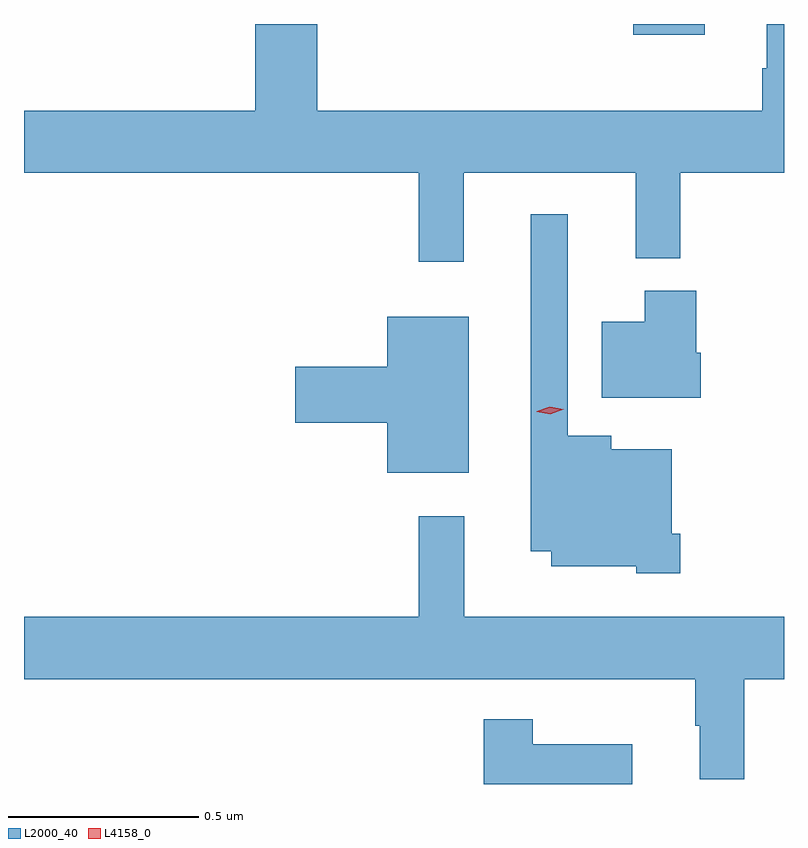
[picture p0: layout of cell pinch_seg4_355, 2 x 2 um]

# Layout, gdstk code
import gdstk
lib = gdstk.Library(unit=1e-6, precision=1e-09)
def R(c, l, rs):  # rectangles x0, y0, x1, y1
    for r in rs: c.add(gdstk.rectangle(r[:2], r[2:], *l))
def P(c, l, *ps):  # polygons
    for p in ps: c.add(gdstk.Polygon(p, *l))
L2000_40 = (2000, 40)
L4158_0 = (4158, 0)

pinch_seg4_355 = lib.new_cell('pinch_seg4_355')
R(pinch_seg4_355, L2000_40, [(994.063,793.188,994.252,793.216)])
P(pinch_seg4_355, L2000_40, [(993.617,792.824),(994.07,792.824),(994.07,792.599),(994.187,792.599),(994.187,792.824),(994.46,792.824),(994.46,793.216),(994.415,793.216),(994.415,793.1),(994.403,793.1),(994.403,792.988),(993.232,792.988),(993.232,793.216),(993.068,793.216),(993.068,792.988),(992.46,792.988),(992.46,792.824),(993.499,792.824),(993.499,792.591),(993.617,792.591)],
  [(994.187,791.875),(994.165,791.875),(994.165,792.097),(994.006,792.097),(994.006,792.133),(993.891,792.133),(993.891,792.715),(993.794,792.715),(993.794,791.828),(993.848,791.828),(993.848,791.789),(994.071,791.789),(994.071,791.771),(994.187,791.771)],
  [(994.241,792.351),(994.229,792.351),(994.229,792.514),(994.094,792.514),(994.094,792.433),(993.98,792.433),(993.98,792.233),(994.241,792.233)],
  [(993.631,792.445),(993.416,792.445),(993.416,792.314),(993.174,792.314),(993.174,792.167),(993.416,792.167),(993.416,792.035),(993.631,792.035)],
  [(994.355,791.492),(994.46,791.492),(994.46,791.656),(993.618,791.656),(993.618,791.92),(993.499,791.92),(993.499,791.656),(992.46,791.656),(992.46,791.492),(994.227,791.492),(994.227,791.369),(994.238,791.369),(994.238,791.229),(994.355,791.229)],
  [(994.06,791.32),(993.799,791.32),(993.799,791.386),(993.67,791.386),(993.67,791.216),(994.06,791.216)])
P(pinch_seg4_355, L4158_0, [(993.845,792.189),(993.809,792.196),(993.809,792.196),(993.809,792.197),(993.844,792.209),(993.88,792.202),(993.88,792.202),(993.88,792.202)])

lib.write_gds('pinch_seg4_355.gds')
